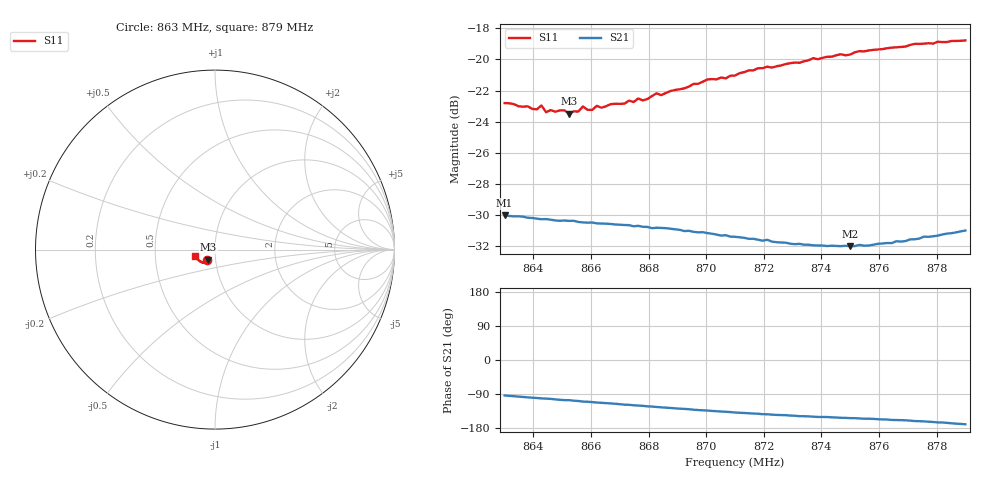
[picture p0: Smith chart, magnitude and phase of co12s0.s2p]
# HZ S RI R 50
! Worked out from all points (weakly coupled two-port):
!   101 points, 863 MHz to 879 MHz, reference 50 ohm
!   highest |S21| = -30.03 dB at 863 MHz (marker M1); lowest = -32.0 dB at 875 MHz (marker M2)
!   lowest |S11| = -23.5 dB at 865.24 MHz (marker M3), VSWR 1.14, Z = 46.1 - j5.13 ohm
!   |S11| at or under -10 dB: start of sweep to end of sweep
!   S12 and S22 are empty: the file has one direction only
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8.63e8  -0.0447 -0.057  -0.00196 -0.0314  0 0  0 0
8.6412e8  -0.0405 -0.056  -0.00547 -0.0303  0 0  0 0
8.6428e8  -0.0403 -0.0587  -0.00603 -0.03  0 0  0 0
8.6444e8  -0.0386 -0.0556  -0.00635 -0.03  0 0  0 0
8.6508e8  -0.0373 -0.0575  -0.00831 -0.0292  0 0  0 0
8.6524e8  -0.0376 -0.0554  -0.00833 -0.0291  0 0  0 0
8.6556e8  -0.0364 -0.0574  -0.00935 -0.0285  0 0  0 0
8.6572e8  -0.0367 -0.0603  -0.0101 -0.0282  0 0  0 0
8.6604e8  -0.0352 -0.0592  -0.0108 -0.0279  0 0  0 0
8.662e8  -0.0377 -0.0601  -0.0112 -0.0275  0 0  0 0
8.6636e8  -0.0369 -0.0595  -0.0116 -0.0273  0 0  0 0
8.6748e8  -0.0354 -0.0638  -0.0143 -0.0253  0 0  0 0
8.6764e8  -0.0373 -0.065  -0.0147 -0.0252  0 0  0 0
8.678e8  -0.036 -0.0645  -0.0149 -0.0248  0 0  0 0
8.6828e8  -0.0381 -0.0679  -0.0161 -0.0239  0 0  0 0
8.6844e8  -0.0388 -0.0662  -0.0165 -0.0235  0 0  0 0
8.7004e8  -0.0453 -0.0734  -0.019 -0.0201  0 0  0 0
8.71e8  -0.051 -0.0727  -0.0202 -0.0178  0 0  0 0
8.7372e8  -0.0707 -0.0721  -0.0218 -0.0128  0 0  0 0
8.75e8  -0.0799 -0.0662  -0.0224 -0.0113  0 0  0 0
8.7644e8  -0.0919 -0.0589  -0.0238 -0.00954  0 0  0 0
8.79e8  -0.1091 -0.0369  -0.0277 -0.00509  0 0  0 0
